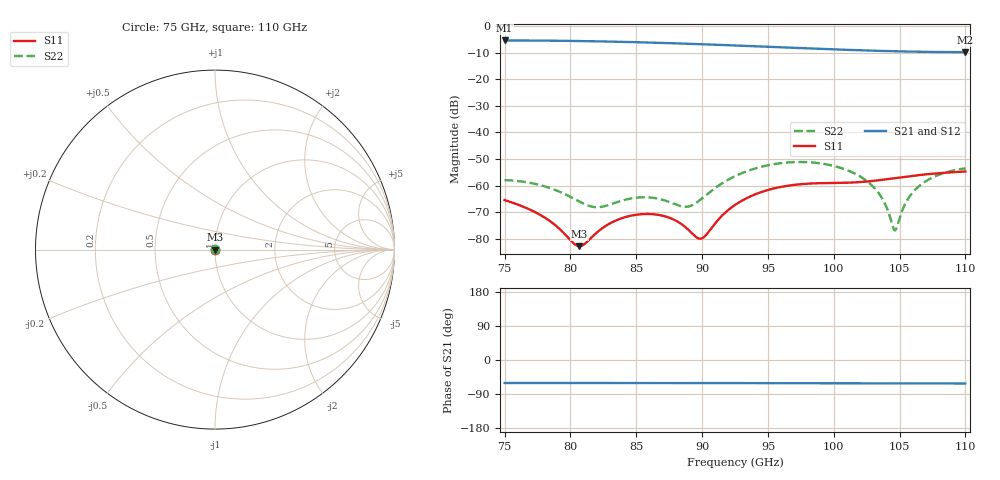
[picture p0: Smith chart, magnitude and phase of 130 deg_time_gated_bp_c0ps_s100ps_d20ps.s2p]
# Hz S RI R 50.000000
! Metas.Vna.Tools, 2.4.7724.19584
! Metas.Vna.Data, 2.4.7724.19560
! Created: UTC 2021.04.29 12:40:11
! FREQ  re:S1,1  im:S1,1  re:S2,1  im:S2,1  re:S1,2  im:S1,2  re:S2,2  im:S2,2
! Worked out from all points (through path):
!   1401 points, 75 GHz to 110 GHz, reference 50 ohm
!   highest |S21| = -5.38 dB at 75 GHz (marker M1); lowest = -9.8 dB at 110 GHz (marker M2)
!   lowest |S11| = -82.8 dB at 80.67 GHz (marker M3), VSWR 1.00, Z = 50 - j0.0055 ohm
!   |S11| at or under -10 dB: start of sweep to end of sweep
!   |S22| runs from -76.9 to -51.1 dB; largest |S21 - S12| = 0.019
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7.5e10  0.000521 -0.000122  0.264 -0.4694  0.2574 -0.4739  0.000604 0.00112
7.795e10  0.000201 -0.000163  0.2622 -0.4663  0.2556 -0.4708  0.000254 0.000951
7.9875e10  1.53e-05 -0.000101  0.2592 -0.4609  0.2525 -0.4655  -5.68e-05 0.000634
8.0675e10  -4.73e-05 -5.5e-05  0.2575 -0.458  0.2508 -0.4626  -0.00018 0.000468
8.085e10  -5.96e-05 -4.38e-05  0.2571 -0.4573  0.2504 -0.4619  -0.000206 0.00043
8.2125e10  -0.000131 4.64e-05  0.2538 -0.4516  0.2471 -0.4563  -0.000365 0.000146
8.405e10  -0.000172 0.000182  0.2478 -0.4413  0.241 -0.4461  -0.000475 -0.000242
8.6675e10  -0.000105 0.000262  0.2377 -0.4243  0.2306 -0.4294  -0.000277 -0.000494
8.8725e10  1.51e-05 0.000166  0.2287 -0.4092  0.2212 -0.4146  0.000175 -0.000359
8.99e10  9.19e-05 4.04e-05  0.2232 -0.4  0.2154 -0.4056  0.000529 -0.000153
9.25e10  0.000224 -0.00037  0.2104 -0.3789  0.2016 -0.3851  0.00142 0.000509
9.505e10  0.000226 -0.000802  0.1977 -0.3581  0.1877 -0.3649  0.00215 0.00113
9.835e10  -4.88e-05 -0.0011  0.182 -0.3329  0.1702 -0.3406  0.00237 0.00135
1.00475e11  -0.00038 -0.00106  0.1729 -0.3185  0.16 -0.3269  0.0019 0.00106
1.022e11  -0.000698 -0.000946  0.1666 -0.3085  0.1527 -0.3173  0.00121 0.000674
1.034e11  -0.000919 -0.000861  0.1627 -0.3024  0.1483 -0.3115  0.000617 0.000389
1.04175e11  -0.00105 -0.000818  0.1605 -0.299  0.1457 -0.3082  0.000209 0.000224
1.04675e11  -0.00113 -0.0008  0.1593 -0.297  0.1443 -0.3063  -5.77e-05 0.000132
1.05525e11  -0.00125 -0.00079  0.1573 -0.2939  0.142 -0.3035  -0.000504 9.66e-06
1.0645e11  -0.00135 -0.000814  0.1556 -0.2912  0.14 -0.3009  -0.000961 -6.52e-05
1.07975e11  -0.00143 -0.000945  0.1535 -0.288  0.1376 -0.2978  -0.0016 -3.9e-05
1.1e11  -0.00133 -0.00127  0.1525 -0.2865  0.1365 -0.2964  -0.0021 0.000265
